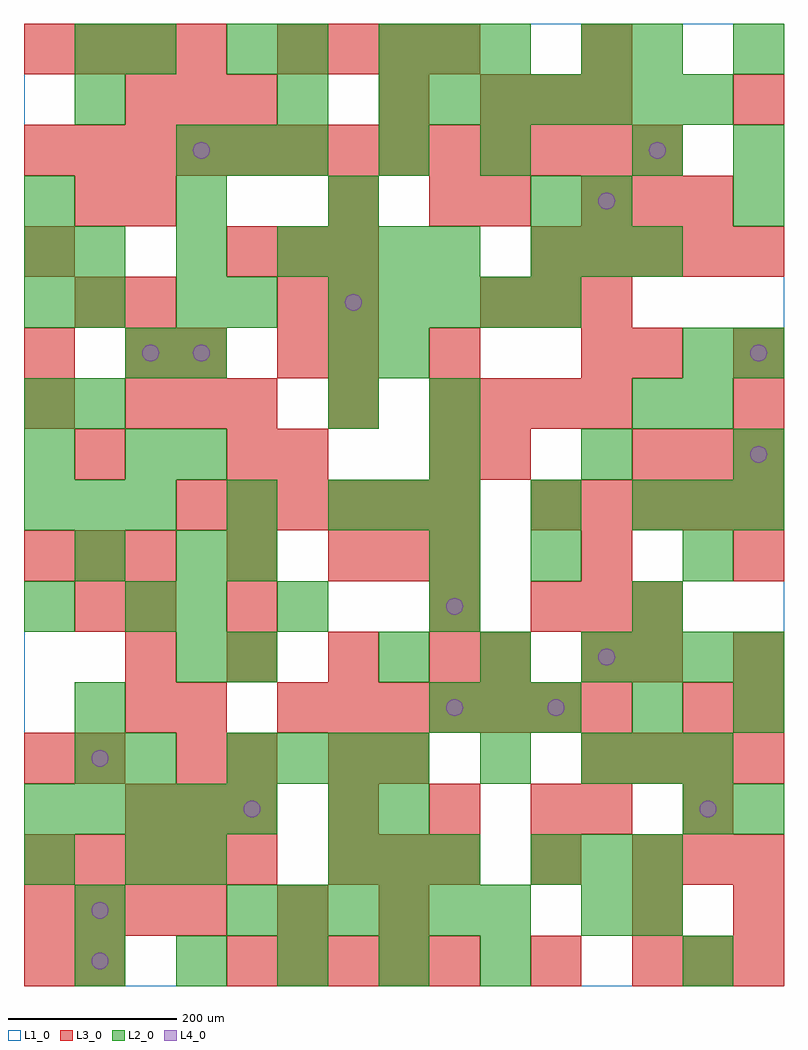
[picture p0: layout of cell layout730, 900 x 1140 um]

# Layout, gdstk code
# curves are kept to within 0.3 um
import gdstk
lib = gdstk.Library(unit=1e-6, precision=1e-09)
def R(c, l, rs):  # rectangles x0, y0, x1, y1
    for r in rs: c.add(gdstk.rectangle(r[:2], r[2:], *l))
def A(c, l, x, y, w, h, nx, ny, dx, dy):  # array of equal rectangles
    R(c, l, [(x+i*dx, y+j*dy, x+i*dx+w, y+j*dy+h) for i in range(nx) for j in range(ny)])
def P(c, l, *ps):  # polygons
    for p in ps: c.add(gdstk.Polygon(p, *l))
L1_0 = (1, 0)
L2_0 = (2, 0)
L3_0 = (3, 0)
L4_0 = (4, 0)

layout730 = lib.new_cell('layout730')
R(layout730, L1_0, [(0,0,900,1140)])
A(layout730, L2_0, 60, 0, 60, 60, 5, 1, 120, 0)
A(layout730, L2_0, 240, 60, 60, 60, 6, 1, 60, 0)
A(layout730, L2_0, 360, 120, 60, 60, 3, 2, 60, 420)
A(layout730, L2_0, 600, 120, 60, 60, 3, 2, 60, 720)
A(layout730, L2_0, 0, 180, 60, 60, 5, 1, 60, 0)
A(layout730, L2_0, 120, 240, 60, 60, 1, 3, 0, 180)
A(layout730, L2_0, 240, 240, 60, 60, 4, 1, 60, 0)
A(layout730, L2_0, 660, 240, 60, 60, 3, 1, 60, 0)
A(layout730, L2_0, 60, 300, 60, 60, 1, 3, 0, 180)
A(layout730, L2_0, 480, 300, 60, 60, 3, 1, 60, 0)
A(layout730, L2_0, 180, 360, 60, 60, 1, 3, 0, 60)
A(layout730, L2_0, 420, 360, 60, 60, 3, 1, 120, 0)
A(layout730, L2_0, 720, 360, 60, 60, 3, 2, 60, 180)
A(layout730, L2_0, 0, 540, 60, 60, 3, 1, 60, 0)
A(layout730, L2_0, 480, 600, 60, 60, 3, 1, 180, 0)
A(layout730, L2_0, 360, 780, 60, 60, 5, 1, 60, 0)
A(layout730, L2_0, 60, 840, 60, 60, 3, 1, 120, 0)
A(layout730, L2_0, 360, 840, 60, 60, 3, 1, 60, 0)
A(layout730, L2_0, 0, 900, 60, 60, 3, 1, 180, 0)
A(layout730, L2_0, 180, 960, 60, 60, 3, 1, 60, 0)
A(layout730, L2_0, 420, 1020, 60, 60, 7, 1, 60, 0)
A(layout730, L2_0, 420, 1080, 60, 60, 3, 1, 60, 0)
R(layout730, L2_0, [(780,0,840,60), (60,60,120,120), (660,60,720,120), (720,60,780,120), (0,120,60,180), (120,120,180,180), (180,120,240,180), (360,180,420,240), (420,180,480,240), (780,180,840,240), (840,180,900,240), (60,240,120,300), (540,240,600,300), (720,300,780,360), (840,300,900,360), (240,360,300,420), (0,420,60,480), (300,420,360,480), (480,420,540,480), (720,420,780,480), (240,480,300,540), (480,480,540,540), (600,480,660,540), (780,480,840,540), (240,540,300,600), (600,540,660,600), (0,600,60,660), (180,600,240,660), (0,660,60,720), (360,660,420,720), (480,660,540,720), (720,660,780,720), (780,660,840,720), (120,720,180,780), (180,720,240,780), (360,720,420,780), (420,720,480,780), (780,720,840,780), (840,720,900,780), (0,780,60,840), (60,780,120,840), (180,780,240,840), (240,780,300,840), (0,840,60,900), (600,900,660,960), (660,900,720,960), (840,900,900,960), (420,960,480,1020), (540,960,600,1020), (720,960,780,1020), (840,960,900,1020), (60,1020,120,1080), (300,1020,360,1080), (60,1080,120,1140), (120,1080,180,1140), (240,1080,300,1140), (300,1080,360,1140), (660,1080,720,1140), (720,1080,780,1140), (840,1080,900,1140)])
A(layout730, L3_0, 240, 0, 60, 60, 5, 1, 60, 0)
A(layout730, L3_0, 720, 0, 60, 60, 3, 2, 60, 120)
A(layout730, L3_0, 0, 60, 60, 60, 4, 2, 60, 1020)
A(layout730, L3_0, 0, 120, 60, 60, 5, 1, 60, 0)
A(layout730, L3_0, 360, 120, 60, 60, 3, 2, 60, 360)
A(layout730, L3_0, 120, 180, 60, 60, 3, 2, 60, 480)
A(layout730, L3_0, 360, 180, 60, 60, 3, 1, 120, 0)
A(layout730, L3_0, 60, 240, 60, 60, 1, 4, 0, 180)
A(layout730, L3_0, 660, 240, 60, 60, 4, 1, 60, 0)
A(layout730, L3_0, 300, 300, 60, 60, 7, 1, 60, 0)
A(layout730, L3_0, 120, 360, 60, 60, 4, 1, 120, 0)
A(layout730, L3_0, 600, 420, 60, 60, 3, 1, 60, 0)
A(layout730, L3_0, 0, 480, 60, 60, 3, 1, 60, 0)
A(layout730, L3_0, 180, 540, 60, 60, 6, 1, 60, 0)
A(layout730, L3_0, 600, 540, 60, 60, 5, 2, 60, 300)
A(layout730, L3_0, 720, 600, 60, 60, 3, 1, 60, 0)
A(layout730, L3_0, 360, 660, 60, 60, 1, 3, 0, 60)
A(layout730, L3_0, 480, 660, 60, 60, 4, 1, 60, 0)
A(layout730, L3_0, 540, 780, 60, 60, 3, 2, 60, 240)
A(layout730, L3_0, 240, 840, 60, 60, 3, 1, 60, 0)
A(layout730, L3_0, 660, 900, 60, 60, 3, 1, 60, 0)
A(layout730, L3_0, 0, 960, 60, 60, 13, 1, 60, 0)
A(layout730, L3_0, 120, 1020, 60, 60, 3, 1, 60, 0)
A(layout730, L3_0, 300, 1080, 60, 60, 4, 1, 60, 0)
R(layout730, L3_0, [(0,0,60,60), (60,0,120,60), (600,0,660,60), (300,60,360,120), (420,60,480,120), (720,60,780,120), (840,60,900,120), (600,120,660,180), (660,180,720,240), (780,180,840,240), (0,240,60,300), (180,240,240,300), (240,240,300,300), (360,240,420,300), (420,240,480,300), (120,300,180,360), (180,300,240,360), (780,300,840,360), (840,300,900,360), (540,360,600,420), (660,360,720,420), (720,360,780,420), (840,360,900,420), (120,420,180,480), (240,420,300,480), (480,420,540,480), (240,480,300,540), (660,480,720,540), (840,480,900,540), (240,600,300,660), (300,600,360,660), (480,600,540,660), (540,600,600,660), (0,660,60,720), (840,660,900,720), (0,720,60,780), (120,720,180,780), (180,720,240,780), (300,720,360,780), (480,720,540,780), (660,720,720,780), (720,720,780,780), (840,720,900,780), (120,780,180,840), (300,780,360,840), (0,840,60,900), (60,900,120,960), (120,900,180,960), (360,900,420,960), (480,900,540,960), (540,900,600,960), (420,1020,480,1080), (840,1020,900,1080), (660,1080,720,1140)])
P(layout730, L4_0, [(100,30),(99.239,33.827),(97.071,37.071),(93.827,39.239),(90,40),(86.173,39.239),(82.929,37.071),(80.761,33.827),(80,30),(80.761,26.173),(82.929,22.929),(86.173,20.761),(90,20),(93.827,20.761),(97.071,22.929),(99.239,26.173)],
  [(100,90),(99.239,93.827),(97.071,97.071),(93.827,99.239),(90,100),(86.173,99.239),(82.929,97.071),(80.761,93.827),(80,90),(80.761,86.173),(82.929,82.929),(86.173,80.761),(90,80),(93.827,80.761),(97.071,82.929),(99.239,86.173)],
  [(100,270),(99.239,273.827),(97.071,277.071),(93.827,279.239),(90,280),(86.173,279.239),(82.929,277.071),(80.761,273.827),(80,270),(80.761,266.173),(82.929,262.929),(86.173,260.761),(90,260),(93.827,260.761),(97.071,262.929),(99.239,266.173)],
  [(160,750),(159.239,753.827),(157.071,757.071),(153.827,759.239),(150,760),(146.173,759.239),(142.929,757.071),(140.761,753.827),(140,750),(140.761,746.173),(142.929,742.929),(146.173,740.761),(150,740),(153.827,740.761),(157.071,742.929),(159.239,746.173)],
  [(220,750),(219.239,753.827),(217.071,757.071),(213.827,759.239),(210,760),(206.173,759.239),(202.929,757.071),(200.761,753.827),(200,750),(200.761,746.173),(202.929,742.929),(206.173,740.761),(210,740),(213.827,740.761),(217.071,742.929),(219.239,746.173)],
  [(220,990),(219.239,993.827),(217.071,997.071),(213.827,999.239),(210,1000),(206.173,999.239),(202.929,997.071),(200.761,993.827),(200,990),(200.761,986.173),(202.929,982.929),(206.173,980.761),(210,980),(213.827,980.761),(217.071,982.929),(219.239,986.173)],
  [(280,210),(279.239,213.827),(277.071,217.071),(273.827,219.239),(270,220),(266.173,219.239),(262.929,217.071),(260.761,213.827),(260,210),(260.761,206.173),(262.929,202.929),(266.173,200.761),(270,200),(273.827,200.761),(277.071,202.929),(279.239,206.173)],
  [(400,810),(399.239,813.827),(397.071,817.071),(393.827,819.239),(390,820),(386.173,819.239),(382.929,817.071),(380.761,813.827),(380,810),(380.761,806.173),(382.929,802.929),(386.173,800.761),(390,800),(393.827,800.761),(397.071,802.929),(399.239,806.173)],
  [(520,330),(519.239,333.827),(517.071,337.071),(513.827,339.239),(510,340),(506.173,339.239),(502.929,337.071),(500.761,333.827),(500,330),(500.761,326.173),(502.929,322.929),(506.173,320.761),(510,320),(513.827,320.761),(517.071,322.929),(519.239,326.173)],
  [(520,450),(519.239,453.827),(517.071,457.071),(513.827,459.239),(510,460),(506.173,459.239),(502.929,457.071),(500.761,453.827),(500,450),(500.761,446.173),(502.929,442.929),(506.173,440.761),(510,440),(513.827,440.761),(517.071,442.929),(519.239,446.173)],
  [(640,330),(639.239,333.827),(637.071,337.071),(633.827,339.239),(630,340),(626.173,339.239),(622.929,337.071),(620.761,333.827),(620,330),(620.761,326.173),(622.929,322.929),(626.173,320.761),(630,320),(633.827,320.761),(637.071,322.929),(639.239,326.173)],
  [(700,390),(699.239,393.827),(697.071,397.071),(693.827,399.239),(690,400),(686.173,399.239),(682.929,397.071),(680.761,393.827),(680,390),(680.761,386.173),(682.929,382.929),(686.173,380.761),(690,380),(693.827,380.761),(697.071,382.929),(699.239,386.173)],
  [(700,930),(699.239,933.827),(697.071,937.071),(693.827,939.239),(690,940),(686.173,939.239),(682.929,937.071),(680.761,933.827),(680,930),(680.761,926.173),(682.929,922.929),(686.173,920.761),(690,920),(693.827,920.761),(697.071,922.929),(699.239,926.173)],
  [(760,990),(759.239,993.827),(757.071,997.071),(753.827,999.239),(750,1000),(746.173,999.239),(742.929,997.071),(740.761,993.827),(740,990),(740.761,986.173),(742.929,982.929),(746.173,980.761),(750,980),(753.827,980.761),(757.071,982.929),(759.239,986.173)],
  [(820,210),(819.239,213.827),(817.071,217.071),(813.827,219.239),(810,220),(806.173,219.239),(802.929,217.071),(800.761,213.827),(800,210),(800.761,206.173),(802.929,202.929),(806.173,200.761),(810,200),(813.827,200.761),(817.071,202.929),(819.239,206.173)],
  [(880,630),(879.239,633.827),(877.071,637.071),(873.827,639.239),(870,640),(866.173,639.239),(862.929,637.071),(860.761,633.827),(860,630),(860.761,626.173),(862.929,622.929),(866.173,620.761),(870,620),(873.827,620.761),(877.071,622.929),(879.239,626.173)],
  [(880,750),(879.239,753.827),(877.071,757.071),(873.827,759.239),(870,760),(866.173,759.239),(862.929,757.071),(860.761,753.827),(860,750),(860.761,746.173),(862.929,742.929),(866.173,740.761),(870,740),(873.827,740.761),(877.071,742.929),(879.239,746.173)])

lib.write_gds('layout730.gds')
